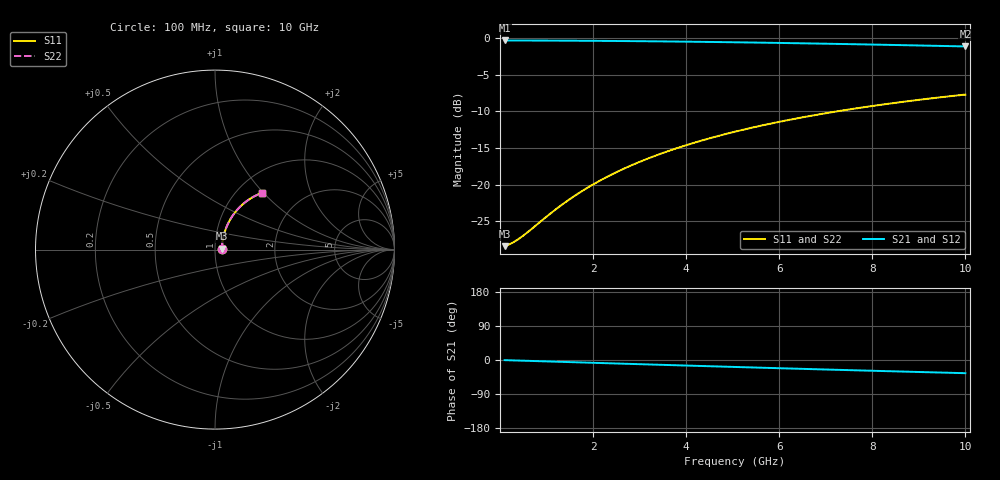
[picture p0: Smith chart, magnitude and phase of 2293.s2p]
# Hz S RI R 50.00
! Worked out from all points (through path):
!   100 points, 100 MHz to 10 GHz, reference 50 ohm
!   highest |S21| = -0.34 dB at 100 MHz (marker M1); lowest = -1.2 dB at 10 GHz (marker M2)
!   group delay of S21, straight-line fit = 9.7 ps
!   lowest |S11| = -28.4 dB at 100 MHz (marker M3), VSWR 1.08, Z = 53.9 + j0.476 ohm
!   |S11| at or under -10 dB: start of sweep to 7.242 GHz
!   |S22| runs from -28.4 to -7.7 dB; largest |S21 - S12| = 0
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1e8  0.0379 0.00441  0.9621 -0.00622  0.9621 -0.00622  0.0379 0.00441
2e8  0.0382 0.00881  0.9618 -0.0124  0.9618 -0.0124  0.0382 0.00881
3e8  0.0386 0.0132  0.9614 -0.0186  0.9614 -0.0186  0.0386 0.0132
4e8  0.0389 0.0176  0.9611 -0.0248  0.9611 -0.0248  0.0389 0.0176
6e8  0.0397 0.0264  0.9602 -0.0372  0.9602 -0.0372  0.0397 0.0264
1e9  0.0418 0.0438  0.958 -0.0619  0.958 -0.0619  0.0418 0.0438
1.3e9  0.044 0.0568  0.9557 -0.0803  0.9557 -0.0803  0.044 0.0568
1.5e9  0.0457 0.0654  0.9539 -0.0926  0.9539 -0.0926  0.0457 0.0654
1.8e9  0.0486 0.0782  0.9508 -0.1108  0.9508 -0.1108  0.0486 0.0782
2.1e9  0.052 0.0908  0.9472 -0.1289  0.9472 -0.1289  0.052 0.0908
2.5e9  0.0573 0.1074  0.9417 -0.1527  0.9417 -0.1527  0.0573 0.1074
2.9e9  0.0633 0.1236  0.9352 -0.1762  0.9352 -0.1762  0.0633 0.1236
3.4e9  0.072 0.1433  0.926 -0.2049  0.926 -0.2049  0.072 0.1433
3.8e9  0.0797 0.1585  0.9178 -0.2275  0.9178 -0.2275  0.0797 0.1585
4.2e9  0.0882 0.1733  0.9088 -0.2495  0.9088 -0.2495  0.0882 0.1733
4.6e9  0.0973 0.1875  0.8991 -0.271  0.8991 -0.271  0.0973 0.1875
5.1e9  0.1095 0.2045  0.886 -0.2971  0.886 -0.2971  0.1095 0.2045
5.9e9  0.131 0.2296  0.8631 -0.3369  0.8631 -0.3369  0.131 0.2296
6.7e9  0.1543 0.2522  0.838 -0.3742  0.838 -0.3742  0.1543 0.2522
7.5e9  0.1792 0.2721  0.8111 -0.4088  0.8111 -0.4088  0.1792 0.2721
8.4e9  0.2087 0.2912  0.7792 -0.4445  0.7792 -0.4445  0.2087 0.2912
1e10  0.2633 0.3165  0.7193 -0.4996  0.7193 -0.4996  0.2633 0.3165
